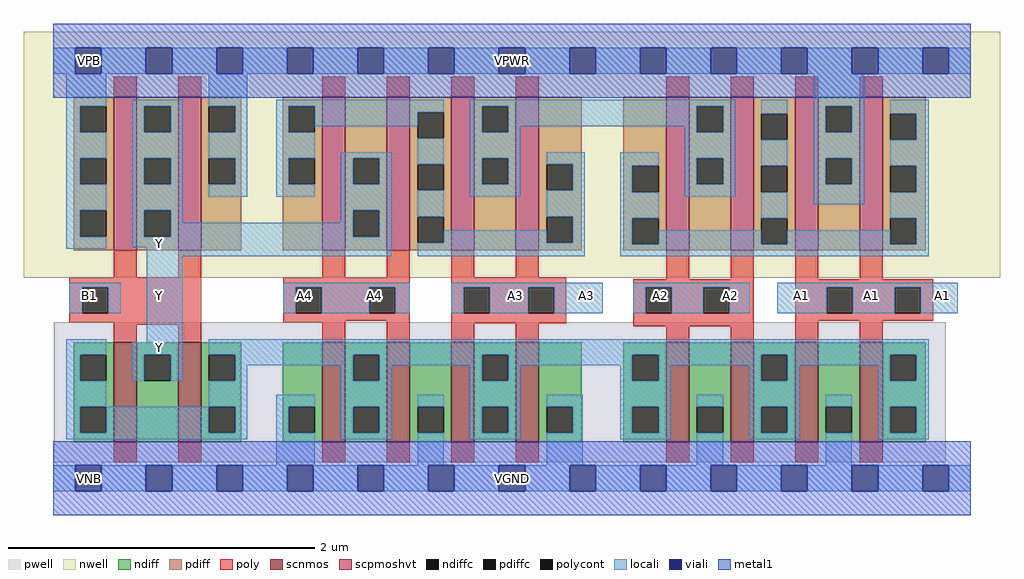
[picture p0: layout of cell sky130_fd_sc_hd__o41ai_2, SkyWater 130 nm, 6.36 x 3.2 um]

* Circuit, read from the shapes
.subckt sky130_fd_sc_hd__o41ai_2 A1 A2 A3 A4 B1 VGND VNB VPB VPWR Y
XM1 Y B1 n1 VNB sky130_fd_pr__nfet_01v8 w=0.65 l=0.15 m=2
XM2 n1 A4 VGND VNB sky130_fd_pr__nfet_01v8 w=0.65 l=0.15 m=2
XM3 n1 A3 VGND VNB sky130_fd_pr__nfet_01v8 w=0.65 l=0.15 m=2
XM4 VGND A2 n1 VNB sky130_fd_pr__nfet_01v8 w=0.65 l=0.15 m=2
XM5 VGND A1 n1 VNB sky130_fd_pr__nfet_01v8 w=0.65 l=0.15 m=2
XM6 Y B1 VPWR VPB sky130_fd_pr__pfet_01v8_hvt w=1 l=0.15 m=2
XM7 Y A4 n2 VPB sky130_fd_pr__pfet_01v8_hvt w=1 l=0.15 m=2
XM8 n3 A3 n2 VPB sky130_fd_pr__pfet_01v8_hvt w=1 l=0.15 m=2
XM9 n3 A2 n4 VPB sky130_fd_pr__pfet_01v8_hvt w=1 l=0.15 m=2
XM10 VPWR A1 n4 VPB sky130_fd_pr__pfet_01v8_hvt w=1 l=0.15 m=2
.ends

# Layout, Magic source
magic
tech sky130B
magscale 1 2
<< nwell >>
rect -38 261 1234 582
<< pwell >>
rect 1 21 1163 203
rect 30 -17 64 21
<< scnmos >>
rect 79 47 109 177
rect 163 47 193 177
rect 351 47 381 177
rect 435 47 465 177
rect 519 47 549 177
rect 603 47 633 177
rect 799 47 829 177
rect 883 47 913 177
rect 967 47 997 177
rect 1051 47 1081 177
<< scpmoshvt >>
rect 79 297 109 497
rect 163 297 193 497
rect 351 297 381 497
rect 435 297 465 497
rect 519 297 549 497
rect 603 297 633 497
rect 799 297 829 497
rect 883 297 913 497
rect 967 297 997 497
rect 1051 297 1081 497
<< ndiff >>
rect 27 161 79 177
rect 27 127 35 161
rect 69 127 79 161
rect 27 93 79 127
rect 27 59 35 93
rect 69 59 79 93
rect 27 47 79 59
rect 109 161 163 177
rect 109 127 119 161
rect 153 127 163 161
rect 109 47 163 127
rect 193 161 245 177
rect 193 127 203 161
rect 237 127 245 161
rect 193 93 245 127
rect 193 59 203 93
rect 237 59 245 93
rect 193 47 245 59
rect 299 93 351 177
rect 299 59 307 93
rect 341 59 351 93
rect 299 47 351 59
rect 381 161 435 177
rect 381 127 391 161
rect 425 127 435 161
rect 381 93 435 127
rect 381 59 391 93
rect 425 59 435 93
rect 381 47 435 59
rect 465 93 519 177
rect 465 59 475 93
rect 509 59 519 93
rect 465 47 519 59
rect 549 161 603 177
rect 549 127 559 161
rect 593 127 603 161
rect 549 93 603 127
rect 549 59 559 93
rect 593 59 603 93
rect 549 47 603 59
rect 633 93 689 177
rect 633 59 643 93
rect 677 59 689 93
rect 633 47 689 59
rect 743 161 799 177
rect 743 127 755 161
rect 789 127 799 161
rect 743 93 799 127
rect 743 59 755 93
rect 789 59 799 93
rect 743 47 799 59
rect 829 93 883 177
rect 829 59 839 93
rect 873 59 883 93
rect 829 47 883 59
rect 913 161 967 177
rect 913 127 923 161
rect 957 127 967 161
rect 913 93 967 127
rect 913 59 923 93
rect 957 59 967 93
rect 913 47 967 59
rect 997 93 1051 177
rect 997 59 1007 93
rect 1041 59 1051 93
rect 997 47 1051 59
rect 1081 161 1137 177
rect 1081 127 1091 161
rect 1125 127 1137 161
rect 1081 93 1137 127
rect 1081 59 1091 93
rect 1125 59 1137 93
rect 1081 47 1137 59
<< pdiff >>
rect 27 485 79 497
rect 27 451 35 485
rect 69 451 79 485
rect 27 417 79 451
rect 27 383 35 417
rect 69 383 79 417
rect 27 349 79 383
rect 27 315 35 349
rect 69 315 79 349
rect 27 297 79 315
rect 109 485 163 497
rect 109 451 119 485
rect 153 451 163 485
rect 109 417 163 451
rect 109 383 119 417
rect 153 383 163 417
rect 109 349 163 383
rect 109 315 119 349
rect 153 315 163 349
rect 109 297 163 315
rect 193 485 245 497
rect 193 451 203 485
rect 237 451 245 485
rect 193 417 245 451
rect 193 383 203 417
rect 237 383 245 417
rect 193 297 245 383
rect 299 485 351 497
rect 299 451 307 485
rect 341 451 351 485
rect 299 417 351 451
rect 299 383 307 417
rect 341 383 351 417
rect 299 297 351 383
rect 381 417 435 497
rect 381 383 391 417
rect 425 383 435 417
rect 381 349 435 383
rect 381 315 391 349
rect 425 315 435 349
rect 381 297 435 315
rect 465 477 519 497
rect 465 443 475 477
rect 509 443 519 477
rect 465 409 519 443
rect 465 375 475 409
rect 509 375 519 409
rect 465 341 519 375
rect 465 307 475 341
rect 509 307 519 341
rect 465 297 519 307
rect 549 485 603 497
rect 549 451 559 485
rect 593 451 603 485
rect 549 417 603 451
rect 549 383 559 417
rect 593 383 603 417
rect 549 297 603 383
rect 633 409 689 497
rect 633 375 643 409
rect 677 375 689 409
rect 633 341 689 375
rect 633 307 643 341
rect 677 307 689 341
rect 633 297 689 307
rect 743 407 799 497
rect 743 373 755 407
rect 789 373 799 407
rect 743 339 799 373
rect 743 305 755 339
rect 789 305 799 339
rect 743 297 799 305
rect 829 485 883 497
rect 829 451 839 485
rect 873 451 883 485
rect 829 417 883 451
rect 829 383 839 417
rect 873 383 883 417
rect 829 297 883 383
rect 913 475 967 497
rect 913 441 923 475
rect 957 441 967 475
rect 913 407 967 441
rect 913 373 923 407
rect 957 373 967 407
rect 913 339 967 373
rect 913 305 923 339
rect 957 305 967 339
rect 913 297 967 305
rect 997 485 1051 497
rect 997 451 1007 485
rect 1041 451 1051 485
rect 997 417 1051 451
rect 997 383 1007 417
rect 1041 383 1051 417
rect 997 297 1051 383
rect 1081 475 1137 497
rect 1081 441 1091 475
rect 1125 441 1137 475
rect 1081 407 1137 441
rect 1081 373 1091 407
rect 1125 373 1137 407
rect 1081 339 1137 373
rect 1081 305 1091 339
rect 1125 305 1137 339
rect 1081 297 1137 305
<< ndiffc >>
rect 35 127 69 161
rect 35 59 69 93
rect 119 127 153 161
rect 203 127 237 161
rect 203 59 237 93
rect 307 59 341 93
rect 391 127 425 161
rect 391 59 425 93
rect 475 59 509 93
rect 559 127 593 161
rect 559 59 593 93
rect 643 59 677 93
rect 755 127 789 161
rect 755 59 789 93
rect 839 59 873 93
rect 923 127 957 161
rect 923 59 957 93
rect 1007 59 1041 93
rect 1091 127 1125 161
rect 1091 59 1125 93
<< pdiffc >>
rect 35 451 69 485
rect 35 383 69 417
rect 35 315 69 349
rect 119 451 153 485
rect 119 383 153 417
rect 119 315 153 349
rect 203 451 237 485
rect 203 383 237 417
rect 307 451 341 485
rect 307 383 341 417
rect 391 383 425 417
rect 391 315 425 349
rect 475 443 509 477
rect 475 375 509 409
rect 475 307 509 341
rect 559 451 593 485
rect 559 383 593 417
rect 643 375 677 409
rect 643 307 677 341
rect 755 373 789 407
rect 755 305 789 339
rect 839 451 873 485
rect 839 383 873 417
rect 923 441 957 475
rect 923 373 957 407
rect 923 305 957 339
rect 1007 451 1041 485
rect 1007 383 1041 417
rect 1091 441 1125 475
rect 1091 373 1125 407
rect 1091 305 1125 339
<< poly >>
rect 79 497 109 523
rect 163 497 193 523
rect 351 497 381 523
rect 435 497 465 523
rect 519 497 549 523
rect 603 497 633 523
rect 799 497 829 523
rect 883 497 913 523
rect 967 497 997 523
rect 1051 497 1081 523
rect 79 262 109 297
rect 163 262 193 297
rect 79 261 193 262
rect 351 261 381 297
rect 435 261 465 297
rect 21 249 193 261
rect 21 215 38 249
rect 72 215 193 249
rect 21 203 193 215
rect 300 249 465 261
rect 300 215 316 249
rect 350 215 412 249
rect 446 215 465 249
rect 300 205 465 215
rect 300 203 381 205
rect 79 200 193 203
rect 79 177 109 200
rect 163 177 193 200
rect 351 177 381 203
rect 435 177 465 205
rect 519 262 549 297
rect 603 262 633 297
rect 519 249 669 262
rect 799 259 829 297
rect 883 259 913 297
rect 519 215 535 249
rect 569 215 619 249
rect 653 215 669 249
rect 519 202 669 215
rect 756 249 913 259
rect 756 215 772 249
rect 806 215 847 249
rect 881 215 913 249
rect 519 177 549 202
rect 603 177 633 202
rect 756 198 913 215
rect 799 177 829 198
rect 883 177 913 198
rect 967 259 997 297
rect 1051 259 1081 297
rect 967 249 1147 259
rect 967 215 1008 249
rect 1042 215 1097 249
rect 1131 215 1147 249
rect 967 205 1147 215
rect 967 177 997 205
rect 1051 177 1081 205
rect 79 21 109 47
rect 163 21 193 47
rect 351 21 381 47
rect 435 21 465 47
rect 519 21 549 47
rect 603 21 633 47
rect 799 21 829 47
rect 883 21 913 47
rect 967 21 997 47
rect 1051 21 1081 47
<< polycont >>
rect 38 215 72 249
rect 316 215 350 249
rect 412 215 446 249
rect 535 215 569 249
rect 619 215 653 249
rect 772 215 806 249
rect 847 215 881 249
rect 1008 215 1042 249
rect 1097 215 1131 249
<< locali >>
rect 0 527 29 561
rect 63 527 121 561
rect 155 527 213 561
rect 247 527 305 561
rect 339 527 397 561
rect 431 527 489 561
rect 523 527 581 561
rect 615 527 673 561
rect 707 527 765 561
rect 799 527 857 561
rect 891 527 949 561
rect 983 527 1041 561
rect 1075 527 1133 561
rect 1167 527 1196 561
rect 17 485 69 527
rect 17 451 35 485
rect 17 417 69 451
rect 17 383 35 417
rect 17 349 69 383
rect 17 315 35 349
rect 17 299 69 315
rect 103 485 169 493
rect 103 451 119 485
rect 153 451 169 485
rect 103 417 169 451
rect 103 383 119 417
rect 153 383 169 417
rect 103 349 169 383
rect 203 485 253 527
rect 237 451 253 485
rect 203 417 253 451
rect 237 383 253 417
rect 203 367 253 383
rect 291 485 509 493
rect 291 451 307 485
rect 341 477 509 485
rect 341 459 475 477
rect 291 417 341 451
rect 291 383 307 417
rect 291 367 341 383
rect 375 417 441 425
rect 375 383 391 417
rect 425 383 441 417
rect 103 315 119 349
rect 153 333 169 349
rect 375 349 441 383
rect 375 333 391 349
rect 153 315 391 333
rect 425 315 441 349
rect 103 301 441 315
rect 122 289 441 301
rect 475 409 509 443
rect 475 341 509 375
rect 543 485 889 493
rect 543 451 559 485
rect 593 459 839 485
rect 593 451 609 459
rect 543 417 609 451
rect 823 451 839 459
rect 873 451 889 485
rect 543 383 559 417
rect 593 383 609 417
rect 543 367 609 383
rect 643 409 693 425
rect 677 375 693 409
rect 643 341 693 375
rect 509 307 643 323
rect 677 307 693 341
rect 475 289 693 307
rect 739 407 789 425
rect 739 373 755 407
rect 739 339 789 373
rect 823 417 889 451
rect 823 383 839 417
rect 873 383 889 417
rect 823 367 889 383
rect 923 475 957 493
rect 923 407 957 441
rect 739 305 755 339
rect 923 339 957 373
rect 991 485 1057 527
rect 991 451 1007 485
rect 1041 451 1057 485
rect 991 417 1057 451
rect 991 383 1007 417
rect 1041 383 1057 417
rect 991 357 1057 383
rect 1091 475 1141 493
rect 1125 441 1141 475
rect 1091 407 1141 441
rect 1125 373 1141 407
rect 789 305 923 323
rect 1091 339 1141 373
rect 957 305 1091 323
rect 1125 305 1141 339
rect 739 289 1141 305
rect 21 249 88 255
rect 21 215 38 249
rect 72 215 88 249
rect 17 161 69 181
rect 122 177 169 289
rect 300 249 465 255
rect 300 215 316 249
rect 350 215 412 249
rect 446 215 465 249
rect 519 249 716 255
rect 519 215 535 249
rect 569 215 619 249
rect 653 215 716 249
rect 756 249 908 255
rect 756 215 772 249
rect 806 215 847 249
rect 881 215 908 249
rect 944 249 1179 255
rect 944 215 1008 249
rect 1042 215 1097 249
rect 1131 215 1179 249
rect 17 127 35 161
rect 103 161 169 177
rect 103 127 119 161
rect 153 127 169 161
rect 203 161 1141 181
rect 237 147 391 161
rect 237 127 253 147
rect 17 93 69 127
rect 203 93 253 127
rect 375 127 391 147
rect 425 147 559 161
rect 425 127 441 147
rect 17 59 35 93
rect 69 59 203 93
rect 237 59 253 93
rect 17 51 253 59
rect 291 93 341 109
rect 291 59 307 93
rect 291 17 341 59
rect 375 93 441 127
rect 543 127 559 147
rect 593 147 755 161
rect 593 127 609 147
rect 375 59 391 93
rect 425 59 441 93
rect 375 51 441 59
rect 475 93 509 109
rect 475 17 509 59
rect 543 93 609 127
rect 739 127 755 147
rect 789 147 923 161
rect 789 127 805 147
rect 543 59 559 93
rect 593 59 609 93
rect 543 51 609 59
rect 643 93 690 109
rect 677 59 690 93
rect 643 17 690 59
rect 739 93 805 127
rect 907 127 923 147
rect 957 147 1091 161
rect 957 127 973 147
rect 739 59 755 93
rect 789 59 805 93
rect 739 51 805 59
rect 839 93 873 109
rect 839 17 873 59
rect 907 93 973 127
rect 1075 127 1091 147
rect 1125 127 1141 161
rect 907 59 923 93
rect 957 59 973 93
rect 907 51 973 59
rect 1007 93 1041 109
rect 1007 17 1041 59
rect 1075 93 1141 127
rect 1075 59 1091 93
rect 1125 59 1141 93
rect 1075 51 1141 59
rect 0 -17 29 17
rect 63 -17 121 17
rect 155 -17 213 17
rect 247 -17 305 17
rect 339 -17 397 17
rect 431 -17 489 17
rect 523 -17 581 17
rect 615 -17 673 17
rect 707 -17 765 17
rect 799 -17 857 17
rect 891 -17 949 17
rect 983 -17 1041 17
rect 1075 -17 1133 17
rect 1167 -17 1196 17
<< viali >>
rect 29 527 63 561
rect 121 527 155 561
rect 213 527 247 561
rect 305 527 339 561
rect 397 527 431 561
rect 489 527 523 561
rect 581 527 615 561
rect 673 527 707 561
rect 765 527 799 561
rect 857 527 891 561
rect 949 527 983 561
rect 1041 527 1075 561
rect 1133 527 1167 561
rect 29 -17 63 17
rect 121 -17 155 17
rect 213 -17 247 17
rect 305 -17 339 17
rect 397 -17 431 17
rect 489 -17 523 17
rect 581 -17 615 17
rect 673 -17 707 17
rect 765 -17 799 17
rect 857 -17 891 17
rect 949 -17 983 17
rect 1041 -17 1075 17
rect 1133 -17 1167 17
<< metal1 >>
rect 0 561 1196 592
rect 0 527 29 561
rect 63 527 121 561
rect 155 527 213 561
rect 247 527 305 561
rect 339 527 397 561
rect 431 527 489 561
rect 523 527 581 561
rect 615 527 673 561
rect 707 527 765 561
rect 799 527 857 561
rect 891 527 949 561
rect 983 527 1041 561
rect 1075 527 1133 561
rect 1167 527 1196 561
rect 0 496 1196 527
rect 0 17 1196 48
rect 0 -17 29 17
rect 63 -17 121 17
rect 155 -17 213 17
rect 247 -17 305 17
rect 339 -17 397 17
rect 431 -17 489 17
rect 523 -17 581 17
rect 615 -17 673 17
rect 707 -17 765 17
rect 799 -17 857 17
rect 891 -17 949 17
rect 983 -17 1041 17
rect 1075 -17 1133 17
rect 1167 -17 1196 17
rect 0 -48 1196 -17
<< labels >>
flabel locali s 1142 221 1176 255 0 FreeSans 250 0 0 0 A1
port 1 nsew signal input
flabel locali s 1050 221 1084 255 0 FreeSans 250 0 0 0 A1
port 1 nsew signal input
flabel locali s 958 221 992 255 0 FreeSans 250 0 0 0 A1
port 1 nsew signal input
flabel locali s 866 221 900 255 0 FreeSans 250 0 0 0 A2
port 2 nsew signal input
flabel locali s 774 221 808 255 0 FreeSans 250 0 0 0 A2
port 2 nsew signal input
flabel locali s 586 221 620 255 0 FreeSans 250 0 0 0 A3
port 3 nsew signal input
flabel locali s 310 221 344 255 0 FreeSans 250 0 0 0 A4
port 4 nsew signal input
flabel locali s 402 221 436 255 0 FreeSans 250 0 0 0 A4
port 4 nsew signal input
flabel locali s 122 289 156 323 0 FreeSans 250 0 0 0 Y
port 10 nsew signal output
flabel locali s 122 153 156 187 0 FreeSans 250 0 0 0 Y
port 10 nsew signal output
flabel locali s 122 221 156 255 0 FreeSans 250 0 0 0 Y
port 10 nsew signal output
flabel locali s 30 221 64 255 0 FreeSans 250 0 0 0 B1
port 5 nsew signal input
flabel locali s 678 221 712 255 0 FreeSans 250 0 0 0 A3
port 3 nsew signal input
flabel pwell s 30 -17 64 17 0 FreeSans 200 0 0 0 VNB
port 7 nsew ground bidirectional
flabel nwell s 30 527 64 561 0 FreeSans 200 0 0 0 VPB
port 8 nsew power bidirectional
flabel metal1 s 30 -17 64 17 0 FreeSans 200 0 0 0 VGND
port 6 nsew ground bidirectional abutment
flabel metal1 s 30 527 64 561 0 FreeSans 200 0 0 0 VPWR
port 9 nsew power bidirectional abutment
rlabel comment s 0 0 0 0 4 o41ai_2
rlabel metal1 s 0 -48 1196 48 1 VGND
port 6 nsew ground bidirectional abutment
rlabel metal1 s 0 496 1196 592 1 VPWR
port 9 nsew power bidirectional abutment
<< properties >>
string FIXED_BBOX 0 0 1196 544
string GDS_END 730510
string GDS_FILE $PDKPATH/libs.ref/sky130_fd_sc_hd/gds/sky130_fd_sc_hd.gds
string GDS_START 719466
string LEFclass CORE
string LEFsite unithd
string LEFsymmetry X Y R90
string path 0.000 0.000 5.980 0.000 
<< end >>
